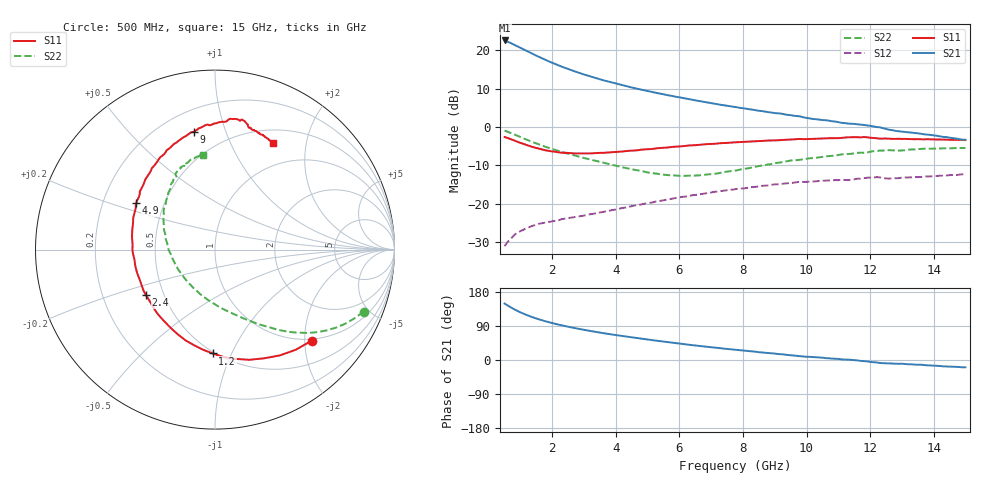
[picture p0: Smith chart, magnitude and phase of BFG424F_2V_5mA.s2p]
! Filename BFG424F_2V_5mA.prm
! Simulation_Values
! Created	by	janssen	on	nov	2006
!	Column ranking S11, S21,S12,S22 both magnitude and phase.
!	VCE	=	2	V,	IC	=	5	mA
!	Common	Emitter	S-Parameters
#	GHZ	S	MA	R	50
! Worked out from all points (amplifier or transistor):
!   146 points, 500 MHz to 15 GHz, reference 50 ohm
!   highest |S21| = 22.5 dB at 500 MHz (marker M1)
!   |S21| within 3 dB of that: start of sweep to 1.257 GHz
!   unconditionally stable (mu >= 1): 3.104 GHz to end of sweep
!   at 2.9 GHz: K = 0.96, MSG = 18.6 dB, |S12| = -23.2 dB
!   at 7.8 GHz: K = 1.28, MAG = 7.5 dB, |S12| = -16.1 dB
!   at 15 GHz: K = 1.62, MAG = -0.1 dB, |S12| = -12.4 dB
!   lowest NFmin = 1.00 dB at 900 MHz
!   S11 on the Smith chart (normalised r, x): 500 MHz: 0.96, -2.16; 1.2 GHz: 0.49, -0.85; 2.4 GHz: 0.40, -0.25; 4.9 GHz: 0.35, +0.24; 9 GHz: 0.33, +0.78; 15 GHz: 0.68, +1.46
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0.5  0.74 -43.3  13.39 148.9  0.028 68.3  0.898 -22.6
0.6  0.717 -51.1  12.87 143.6  0.032 64.8  0.865 -26.4
0.7  0.691 -58.6  12.35 138.6  0.035 62.2  0.834 -29.8
0.8  0.664 -65.9  11.8 133.9  0.039 59.3  0.801 -32.9
1  0.62 -79.2  10.72 125.7  0.044 55.0  0.739 -38.3
1.2  0.579 -91.3  9.735 118.6  0.048 52.0  0.682 -42.9
1.4  0.545 -102.5  8.866 112.3  0.052 49.7  0.632 -46.8
1.7  0.506 -117.5  7.762 104.2  0.056 47.6  0.568 -51.8
1.9  0.487 -126.7  7.127 99.5  0.058 47.0  0.532 -54.8
2.1  0.474 -135.1  6.586 95.3  0.06 46.7  0.501 -57.6
2.4  0.461 -146.8  5.886 89.5  0.064 46.8  0.461 -61.8
3  0.453 -166.6  4.825 79.6  0.07 48.0  0.394 -70.4
3.7  0.463 174.1  3.964 69.6  0.08 49.7  0.335 -82.1
4.2  0.479 162.6  3.498 63.2  0.088 50.9  0.299 -91.9
4.9  0.51 149.2  3.001 55.1  0.1 51.2  0.261 -108.4
5.4  0.532 140.8  2.72 49.5  0.109 50.9  0.242 -121.9
6.5  0.579 125.2  2.223 38.3  0.13 49.2  0.233 -155.2
7.8  0.632 110.9  1.808 26.9  0.156 45.4  0.272 171.0
9  0.668 100.1  1.517 17.0  0.179 40.8  0.337 148.6
10.2  0.7 90.8  1.269 7.9  0.195 35.0  0.394 132.3
12.6  0.703 73.6  0.92 -9.1  0.212 24.9  0.499 110.8
15  0.674 61.3  0.681 -19.2  0.24 17.6  0.532 97.5
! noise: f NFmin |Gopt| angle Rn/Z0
0.9  1  0.28  11.7  0.24
2  1.2  0.22  60.8  0.18
